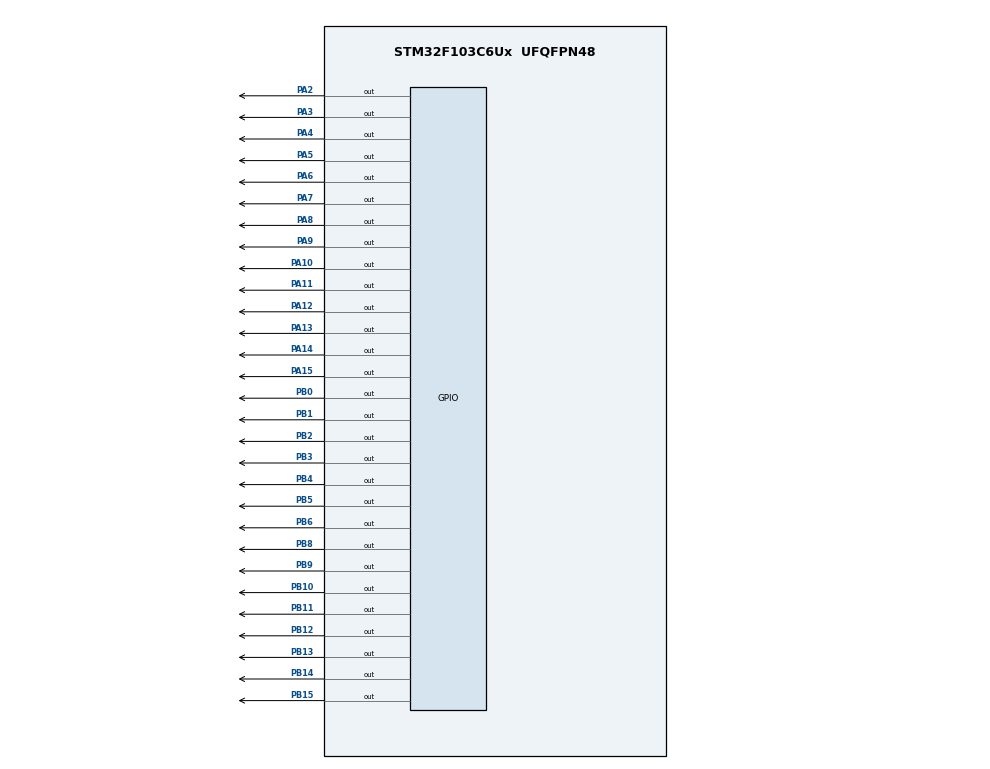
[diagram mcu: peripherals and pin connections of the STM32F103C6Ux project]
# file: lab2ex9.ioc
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Mcu.Family=STM32F1
Mcu.Name=STM32F103C6Ux
Mcu.Package=UFQFPN48
NVIC.PriorityGroup=NVIC_PRIORITYGROUP_4
NVIC.TIM2_IRQn=true\:0\:0\:false\:false\:true\:true\:true
PA10.Signal=GPIO_Output
PA11.Signal=GPIO_Output
PA12.Signal=GPIO_Output
PA13.Signal=GPIO_Output
PA14.Signal=GPIO_Output
PA15.Signal=GPIO_Output
PA2.Signal=GPIO_Output
PA3.Signal=GPIO_Output
PA4.Signal=GPIO_Output
PA5.Signal=GPIO_Output
PA6.Signal=GPIO_Output
PA7.Signal=GPIO_Output
PA8.Signal=GPIO_Output
PA9.Signal=GPIO_Output
PB0.Signal=GPIO_Output
PB1.Signal=GPIO_Output
PB10.Signal=GPIO_Output
PB11.Signal=GPIO_Output
PB12.Signal=GPIO_Output
PB13.Signal=GPIO_Output
PB14.Signal=GPIO_Output
PB15.Signal=GPIO_Output
PB2.Signal=GPIO_Output
PB3.Signal=GPIO_Output
PB4.Signal=GPIO_Output
PB5.Signal=GPIO_Output
PB6.Signal=GPIO_Output
PB8.Signal=GPIO_Output
PB9.Signal=GPIO_Output
ProjectManager.HeapSize=0x200
ProjectManager.StackSize=0x400
ProjectManager.TargetToolchain=STM32CubeIDE
RCC.APB1Freq_Value=8000000
RCC.APB2Freq_Value=8000000
TIM2.Period=9
TIM2.Prescaler=7999
VP_SYS_VS_ND.Mode=No_Debug
VP_TIM2_VS_ClockSourceINT.Mode=Internal
board=custom

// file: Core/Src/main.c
/* USER CODE BEGIN Header */
/**
  ******************************************************************************
  * @file           : main.c
  * @brief          : Gộp bài Ex10 (LED Ma Trận) & Ex8 (Đồng hồ LED 7 đoạn)
  ******************************************************************************
  */
/* USER CODE END Header */
#include "main.h"

/* USER CODE BEGIN PV */
TIM_HandleTypeDef htim2;

// --- SOFTWARE TIMER TEMPLATE (4 TIMERS CHO 4 TÁC VỤ SONG SONG) ---
#define MAX_TIMERS 4
int timer_counter[MAX_TIMERS] = {0};
int timer_flag[MAX_TIMERS] = {0};

// ================= 1. CÁC BIẾN CỦA MA TRẬN LED =================
const int MAX_LED_MATRIX = 8;
int index_led_matrix = 0;
// Mảng 8 byte mã hóa chữ "A"
uint8_t matrix_A[8] = {
    0x03, 0xF5, 0xF6, 0xF6, 0xF6, 0xF6, 0xF5, 0x03
};

// ================= 2. CÁC BIẾN CỦA ĐỒNG HỒ SỐ =================
const int MAX_LED = 4;
int index_led = 0;
int led_buffer[4] = {2, 0, 2, 6}; // Mặc định 20:26
int hour = 20, minute = 26, second = 50;
/* USER CODE END PV */

void SystemClock_Config(void);
static void MX_GPIO_Init(void);
static void MX_TIM2_Init(void);

void setTimer(int index, int duration);
void timerRun(void);

// Các hàm Ma trận
void updateLEDMatrix(int index);
void shiftLeft(void);

// Các hàm Đồng hồ
void display7SEG(int num);
void update7SEG(int index);
void updateClockBuffer(void);

/* USER CODE BEGIN 0 */
// --- HÀM TẠO TIMING SOFTWARE TIMER ---
void setTimer(int index, int duration) {
    if (index >= 0 && index < MAX_TIMERS) {
        timer_counter[index] = duration;
        timer_flag[index] = 0;
    }
}

void timerRun(void) {
    for (int i = 0; i < MAX_TIMERS; i++) {
        if (timer_counter[i] > 0) {
            timer_counter[i]--;
            if (timer_counter[i] <= 0) {
                timer_flag[i] = 1;
            }
        }
    }
}

// ================= HÀM XỬ LÝ MA TRẬN LED =================
void shiftLeft(void) {
    uint8_t temp = matrix_A[0];
    for (int i = 0; i < 7; i++) {
        matrix_A[i] = matrix_A[i + 1];
    }
    matrix_A[7] = temp;
}

void updateLEDMatrix(int index) {
    // 1. Tắt tất cả các Cột
    HAL_GPIO_WritePin(GPIOA, GPIO_PIN_2 | GPIO_PIN_3 | GPIO_PIN_10 | GPIO_PIN_11 |
                             GPIO_PIN_12 | GPIO_PIN_13 | GPIO_PIN_14 | GPIO_PIN_15, GPIO_PIN_SET);

    // 2. Xuất dữ liệu Hàng
    uint8_t data = matrix_A[index];
    for (int i = 0; i < 8; i++) {
        if ((data >> i) & 0x01) {
            HAL_GPIO_WritePin(GPIOB, (GPIO_PIN_8 << i), GPIO_PIN_SET);   // Tắt
        } else {
            HAL_GPIO_WritePin(GPIOB, (GPIO_PIN_8 << i), GPIO_PIN_RESET); // Sáng
        }
    }

    // 3. Bật Cột tương ứng
    switch (index) {
        case 0: HAL_GPIO_WritePin(GPIOA, GPIO_PIN_2,  GPIO_PIN_RESET); break;
        case 1: HAL_GPIO_WritePin(GPIOA, GPIO_PIN_3,  GPIO_PIN_RESET); break;
        case 2: HAL_GPIO_WritePin(GPIOA, GPIO_PIN_10, GPIO_PIN_RESET); break;
        case 3: HAL_GPIO_WritePin(GPIOA, GPIO_PIN_11, GPIO_PIN_RESET); break;
        case 4: HAL_GPIO_WritePin(GPIOA, GPIO_PIN_12, GPIO_PIN_RESET); break;
        case 5: HAL_GPIO_WritePin(GPIOA, GPIO_PIN_13, GPIO_PIN_RESET); break;
        case 6: HAL_GPIO_WritePin(GPIOA, GPIO_PIN_14, GPIO_PIN_RESET); break;
        case 7: HAL_GPIO_WritePin(GPIOA, GPIO_PIN_15, GPIO_PIN_RESET); break;
    }
}

// ================= HÀM XỬ LÝ ĐỒNG HỒ 7-ĐOẠN =================
void updateClockBuffer(void) {
    led_buffer[0] = hour / 10;
    led_buffer[1] = hour % 10;
    led_buffer[2] = minute / 10;
    led_buffer[3] = minute % 10;
}

void display7SEG(int num) {
    uint8_t segment_map[10] = { 0x3F, 0x06, 0x5B, 0x4F, 0x66, 0x6D, 0x7D, 0x07, 0x7F, 0x6F };
    if (num >= 0 && num <= 9) {
        HAL_GPIO_WritePin(GPIOB, GPIO_PIN_0|GPIO_PIN_1|GPIO_PIN_2|GPIO_PIN_3|GPIO_PIN_4|GPIO_PIN_5|GPIO_PIN_6, GPIO_PIN_SET);
        uint8_t code = segment_map[num];
        for (int i = 0; i < 7; i++) {
            if ((code >> i) & 0x01) {
                HAL_GPIO_WritePin(GPIOB, (GPIO_PIN_0 << i), GPIO_PIN_RESET);
            }
        }
    }
}

void update7SEG(int index) {
    HAL_GPIO_WritePin(GPIOA, GPIO_PIN_6 | GPIO_PIN_7 | GPIO_PIN_8 | GPIO_PIN_9, GPIO_PIN_SET);
    switch (index) {
        case 0:
            display7SEG(led_buffer[0]);
            HAL_GPIO_WritePin(GPIOA, GPIO_PIN_6, GPIO_PIN_RESET);
            break;
        case 1:
            display7SEG(led_buffer[1]);
            HAL_GPIO_WritePin(GPIOA, GPIO_PIN_7, GPIO_PIN_RESET);
            break;
        case 2:
            display7SEG(led_buffer[2]);
            HAL_GPIO_WritePin(GPIOA, GPIO_PIN_8, GPIO_PIN_RESET);
            break;
        case 3:
            display7SEG(led_buffer[3]);
            HAL_GPIO_WritePin(GPIOA, GPIO_PIN_9, GPIO_PIN_RESET);
            break;
    }
}

// Ngắt Hardware Timer 2 - đếm lùi toàn bộ Timer
void HAL_TIM_PeriodElapsedCallback(TIM_HandleTypeDef *htim) {
    if (htim->Instance == TIM2) {
        timerRun();
    }
}
/* USER CODE END 0 */

int main(void)
{
  HAL_Init();
  SystemClock_Config();
  MX_GPIO_Init();
  MX_TIM2_Init();

  /* USER CODE BEGIN 2 */
  HAL_TIM_Base_Start_IT(&htim2);

  updateClockBuffer();
  updateLEDMatrix(index_led_matrix);

  // Khởi tạo 4 bộ đếm song song
  setTimer(0, 3);   // Timer 0: Quét ma trận LED
  setTimer(1, 120); // Timer 1: Dịch chữ "A"
  setTimer(2, 15);  // Timer 2: Quét LED 7-đoạn
  setTimer(3, 100); // Timer 3: Đếm đồng hồ 1s
  /* USER CODE END 2 */

  /* USER CODE BEGIN WHILE */
  while (1)
  {
      // --- TASK 1: QUÉT HIỂN THỊ MA TRẬN LED ---
      if (timer_flag[0] == 1) {
          setTimer(0, 3);
          index_led_matrix = (index_led_matrix + 1) % MAX_LED_MATRIX;
          updateLEDMatrix(index_led_matrix);
      }

      // --- TASK 2: DỊCH CHUYỂN CHỮ "A" ---
      if (timer_flag[1] == 1) {
          setTimer(1, 120);
          shiftLeft();
      }

      // --- TASK 3: QUÉT HIỂN THỊ ĐỒNG HỒ 7 ĐOẠN ---
      if (timer_flag[2] == 1) {
          setTimer(2, 15);
          update7SEG(index_led);
          index_led = (index_led + 1) % MAX_LED;
      }

      // --- TASK 4: ĐẾM GIỜ VÀ CHỚP LED STATUS ---
      if (timer_flag[3] == 1) {
          setTimer(3, 100);

          HAL_GPIO_TogglePin(GPIOA, GPIO_PIN_4 | GPIO_PIN_5);

          second++;
          if (second >= 60) {
              second = 0;
              minute++;
              if (minute >= 60) {
                  minute = 0;
                  hour++;
                  if (hour >= 24) hour = 0;
              }
          }
          updateClockBuffer();
      }
  }
  /* USER CODE END WHILE */
}

void SystemClock_Config(void)
{
  RCC_OscInitTypeDef RCC_OscInitStruct = {0};
  RCC_ClkInitTypeDef RCC_ClkInitStruct = {0};

  RCC_OscInitStruct.OscillatorType = RCC_OSCILLATORTYPE_HSI;
  RCC_OscInitStruct.HSIState = RCC_HSI_ON;
  RCC_OscInitStruct.HSICalibrationValue = RCC_HSICALIBRATION_DEFAULT;
  RCC_OscInitStruct.PLL.PLLState = RCC_PLL_NONE;
  if (HAL_RCC_OscConfig(&RCC_OscInitStruct) != HAL_OK) { Error_Handler(); }

  RCC_ClkInitStruct.ClockType = RCC_CLOCKTYPE_HCLK|RCC_CLOCKTYPE_SYSCLK
                              |RCC_CLOCKTYPE_PCLK1|RCC_CLOCKTYPE_PCLK2;
  RCC_ClkInitStruct.SYSCLKSource = RCC_SYSCLKSOURCE_HSI;
  RCC_ClkInitStruct.AHBCLKDivider = RCC_SYSCLK_DIV1;
  RCC_ClkInitStruct.APB1CLKDivider = RCC_HCLK_DIV1;
  RCC_ClkInitStruct.APB2CLKDivider = RCC_HCLK_DIV1;

  if (HAL_RCC_ClockConfig(&RCC_ClkInitStruct, FLASH_LATENCY_0) != HAL_OK) { Error_Handler(); }
}

static void MX_TIM2_Init(void)
{
  TIM_ClockConfigTypeDef sClockSourceConfig = {0};
  TIM_MasterConfigTypeDef sMasterConfig = {0};

  htim2.Instance = TIM2;
  htim2.Init.Prescaler = 7999;
  htim2.Init.CounterMode = TIM_COUNTERMODE_UP;
  htim2.Init.Period = 9;
  htim2.Init.ClockDivision = TIM_CLOCKDIVISION_DIV1;
  htim2.Init.AutoReloadPreload = TIM_AUTORELOAD_PRELOAD_DISABLE;
  if (HAL_TIM_Base_Init(&htim2) != HAL_OK) { Error_Handler(); }

  sClockSourceConfig.ClockSource = TIM_CLOCKSOURCE_INTERNAL;
  if (HAL_TIM_ConfigClockSource(&htim2, &sClockSourceConfig) != HAL_OK) { Error_Handler(); }
  sMasterConfig.MasterOutputTrigger = TIM_TRGO_RESET;
  sMasterConfig.MasterSlaveMode = TIM_MASTERSLAVEMODE_DISABLE;
  if (HAL_TIMEx_MasterConfigSynchronization(&htim2, &sMasterConfig) != HAL_OK) { Error_Handler(); }

  HAL_NVIC_SetPriority(TIM2_IRQn, 0, 0);
  HAL_NVIC_EnableIRQ(TIM2_IRQn);
}

static void MX_GPIO_Init(void)
{
  GPIO_InitTypeDef GPIO_InitStruct = {0};

  __HAL_RCC_GPIOA_CLK_ENABLE();
  __HAL_RCC_GPIOB_CLK_ENABLE();
  __HAL_RCC_AFIO_CLK_ENABLE();
  __HAL_AFIO_REMAP_SWJ_DISABLE(); // Tắt JTAG

  // Khởi tạo các chân GPIOA: PA2..PA15 (kết hợp cả LED 7 đoạn và Ma trận)
  HAL_GPIO_WritePin(GPIOA, GPIO_PIN_2|GPIO_PIN_3|GPIO_PIN_4|GPIO_PIN_5|GPIO_PIN_6|GPIO_PIN_7|
                           GPIO_PIN_8|GPIO_PIN_9|GPIO_PIN_10|GPIO_PIN_11|GPIO_PIN_12|
                           GPIO_PIN_13|GPIO_PIN_14|GPIO_PIN_15, GPIO_PIN_SET);

  GPIO_InitStruct.Pin = GPIO_PIN_2|GPIO_PIN_3|GPIO_PIN_4|GPIO_PIN_5|GPIO_PIN_6|GPIO_PIN_7|
                        GPIO_PIN_8|GPIO_PIN_9|GPIO_PIN_10|GPIO_PIN_11|GPIO_PIN_12|
                        GPIO_PIN_13|GPIO_PIN_14|GPIO_PIN_15;
  GPIO_InitStruct.Mode = GPIO_MODE_OUTPUT_PP;
  GPIO_InitStruct.Pull = GPIO_NOPULL;
  GPIO_InitStruct.Speed = GPIO_SPEED_FREQ_LOW;
  HAL_GPIO_Init(GPIOA, &GPIO_InitStruct);

  // Khởi tạo các chân GPIOB: PB0..PB6 và PB8..PB15
  HAL_GPIO_WritePin(GPIOB, GPIO_PIN_0|GPIO_PIN_1|GPIO_PIN_2|GPIO_PIN_3|GPIO_PIN_4|GPIO_PIN_5|
                           GPIO_PIN_6|GPIO_PIN_8|GPIO_PIN_9|GPIO_PIN_10|GPIO_PIN_11|
                           GPIO_PIN_12|GPIO_PIN_13|GPIO_PIN_14|GPIO_PIN_15, GPIO_PIN_SET);

  GPIO_InitStruct.Pin = GPIO_PIN_0|GPIO_PIN_1|GPIO_PIN_2|GPIO_PIN_3|GPIO_PIN_4|GPIO_PIN_5|
                        GPIO_PIN_6|GPIO_PIN_8|GPIO_PIN_9|GPIO_PIN_10|GPIO_PIN_11|
                        GPIO_PIN_12|GPIO_PIN_13|GPIO_PIN_14|GPIO_PIN_15;
  GPIO_InitStruct.Mode = GPIO_MODE_OUTPUT_PP;
  GPIO_InitStruct.Pull = GPIO_NOPULL;
  GPIO_InitStruct.Speed = GPIO_SPEED_FREQ_LOW;
  HAL_GPIO_Init(GPIOB, &GPIO_InitStruct);
}

void Error_Handler(void) {
  __disable_irq();
  while (1) {}
}
